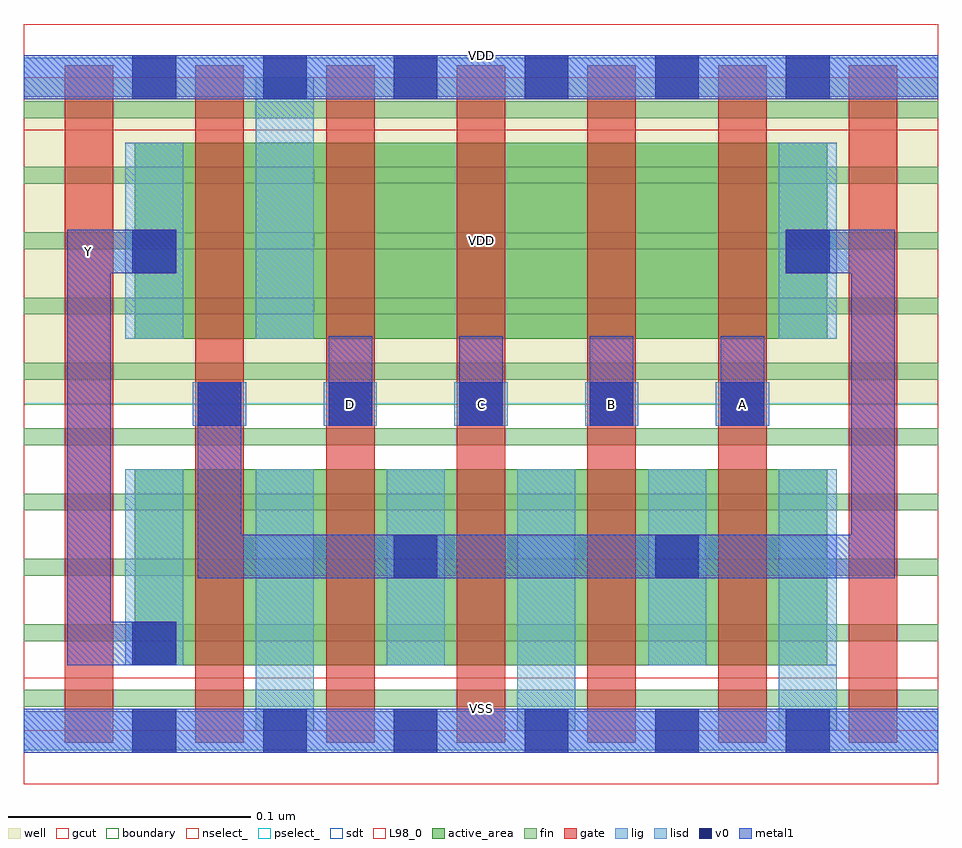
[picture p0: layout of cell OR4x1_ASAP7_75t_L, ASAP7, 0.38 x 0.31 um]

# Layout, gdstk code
import gdstk
lib = gdstk.Library(unit=1e-6, precision=2.5e-10)
def R(c, l, rs):  # rectangles x0, y0, x1, y1
    for r in rs: c.add(gdstk.rectangle(r[:2], r[2:], *l))
def A(c, l, x, y, w, h, nx, ny, dx, dy):  # array of equal rectangles
    R(c, l, [(x+i*dx, y+j*dy, x+i*dx+w, y+j*dy+h) for i in range(nx) for j in range(ny)])
def P(c, l, *ps):  # polygons
    for p in ps: c.add(gdstk.Polygon(p, *l))
well = (1, 0)
fin = (2, 0)
gate = (7, 0)
gcut = (10, 0)
active_area = (11, 0)
nselect_ = (12, 0)
pselect_ = (13, 0)
lig = (16, 0)
lisd = (17, 0)
v0 = (18, 0)
metal1 = (19, 0)
sdt = (88, 0)
L98_0 = (98, 0)
boundary = (100, 0)

or4x1_asap7_75t_l = lib.new_cell('OR4x1_ASAP7_75t_L')
R(or4x1_asap7_75t_l, well, [(0,0.135,0.378,0.27)])
A(or4x1_asap7_75t_l, fin, 0, 0.01, 0.378, 0.007, 1, 10, 0, 0.027)
A(or4x1_asap7_75t_l, gate, 0.017, -0.005, 0.02, 0.28, 7, 1, 0.054, 0)
R(or4x1_asap7_75t_l, gcut, [(0,-0.022,0.378,0.022), (0,0.248,0.378,0.292)])
R(or4x1_asap7_75t_l, active_area, [(0.046,0.027,0.332,0.108), (0.046,0.162,0.332,0.243)])
R(or4x1_asap7_75t_l, nselect_, [(0,0,0.378,0.135)])
R(or4x1_asap7_75t_l, pselect_, [(0,0.135,0.378,0.27)])
A(or4x1_asap7_75t_l, lig, 0.07, 0.126, 0.022, 0.018, 5, 1, 0.054, 0)
R(or4x1_asap7_75t_l, lig, [(0,-0.008,0.378,0.008), (0,0.262,0.378,0.278)])
A(or4x1_asap7_75t_l, lisd, 0.042, 0.027, 0.024, 0.081, 3, 1, 0.108, 0)
R(or4x1_asap7_75t_l, lisd, [(0.096,0,0.12,0.108), (0.096,0,0.12,0.108), (0.204,0,0.228,0.108), (0.204,0,0.228,0.108), (0.312,0,0.336,0.108), (0.312,0,0.336,0.108), (0.042,0.162,0.066,0.243), (0.096,0.162,0.12,0.27), (0.096,0.162,0.12,0.27), (0.312,0.162,0.336,0.243)])
A(or4x1_asap7_75t_l, v0, 0.045, -0.009, 0.018, 0.018, 6, 2, 0.054, 0.27)
A(or4x1_asap7_75t_l, v0, 0.072, 0.126, 0.018, 0.018, 5, 1, 0.054, 0)
R(or4x1_asap7_75t_l, v0, [(0.045,0.027,0.063,0.045), (0.153,0.063,0.171,0.081), (0.261,0.063,0.279,0.081), (0.045,0.189,0.063,0.207), (0.315,0.189,0.333,0.207)])
A(or4x1_asap7_75t_l, metal1, 0.072, 0.126, 0.018, 0.018, 5, 1, 0.054, 0)
A(or4x1_asap7_75t_l, metal1, 0.126, 0.126, 0.018, 0.037, 4, 1, 0.054, 0)
R(or4x1_asap7_75t_l, metal1, [(0,-0.009,0.378,0.009), (0.045,0.027,0.063,0.045), (0.153,0.063,0.171,0.081), (0.261,0.063,0.279,0.081), (0.045,0.189,0.063,0.207), (0.315,0.189,0.333,0.207), (0,0.261,0.378,0.279)])
P(or4x1_asap7_75t_l, metal1, [(0.063,0.045),(0.036,0.045),(0.036,0.189),(0.063,0.189),(0.063,0.207),(0.018,0.207),(0.018,0.027),(0.063,0.027)],
  [(0.315,0.207),(0.315,0.189),(0.342,0.189),(0.342,0.081),(0.09,0.081),(0.09,0.144),(0.072,0.144),(0.072,0.063),(0.36,0.063),(0.36,0.207)])
A(or4x1_asap7_75t_l, sdt, 0.096, 0.027, 0.024, 0.081, 3, 1, 0.054, 0)
A(or4x1_asap7_75t_l, sdt, 0.204, 0.027, 0.024, 0.081, 3, 1, 0.054, 0)
R(or4x1_asap7_75t_l, sdt, [(0.042,0.027,0.066,0.108), (0.096,0.027,0.12,0.108), (0.312,0.027,0.336,0.108), (0.042,0.162,0.066,0.243), (0.096,0.162,0.12,0.243), (0.096,0.162,0.12,0.243), (0.312,0.162,0.336,0.243)])
R(or4x1_asap7_75t_l, L98_0, [(0,0,0.378,0.27)])
R(or4x1_asap7_75t_l, boundary, [(0,0,0.378,0.27)])
or4x1_asap7_75t_l.add(gdstk.Label('VDD', (0.189,0.2025), layer=1, texttype=251))
or4x1_asap7_75t_l.add(gdstk.Label('VSS', (0.189,-0.0675), layer=3, texttype=251))
or4x1_asap7_75t_l.add(gdstk.Label('VSS', (0.189,0.009), layer=19, texttype=251))
or4x1_asap7_75t_l.add(gdstk.Label('VDD', (0.189,0.279), layer=19, texttype=251))
or4x1_asap7_75t_l.add(gdstk.Label('Y', (0.027,0.198), layer=19, texttype=251))
or4x1_asap7_75t_l.add(gdstk.Label('D', (0.135,0.135), layer=19, texttype=251))
or4x1_asap7_75t_l.add(gdstk.Label('C', (0.189,0.135), layer=19, texttype=251))
or4x1_asap7_75t_l.add(gdstk.Label('B', (0.243,0.135), layer=19, texttype=251))
or4x1_asap7_75t_l.add(gdstk.Label('A', (0.297,0.135), layer=19, texttype=251))

lib.write_gds('OR4x1_ASAP7_75t_L.gds')
